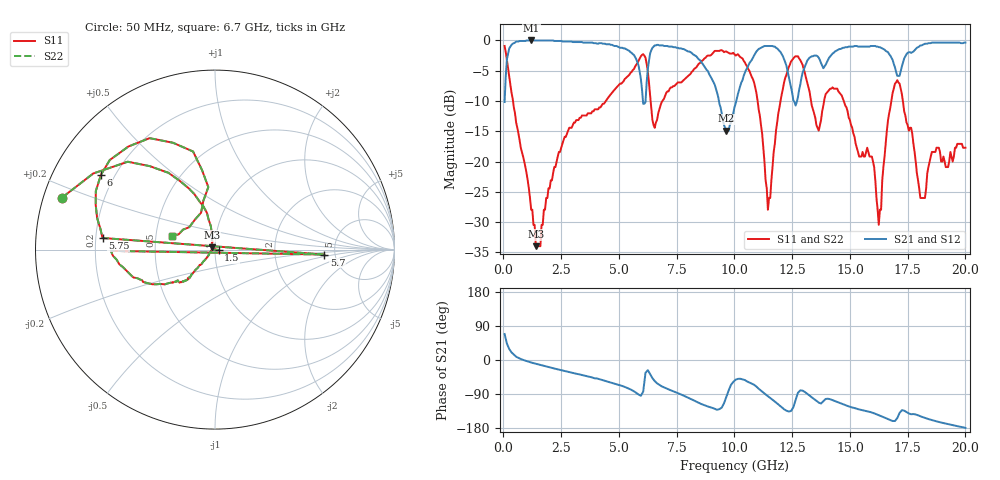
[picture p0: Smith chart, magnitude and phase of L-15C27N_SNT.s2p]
# MHZ S MA R 50
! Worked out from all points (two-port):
!   400 points, 50 MHz to 20 GHz, reference 50 ohm
!   highest |S21| = 0.00 dB at 1.2 GHz (marker M1); lowest = -14.9 dB at 9.65 GHz (marker M2)
!   |S21| within 3 dB of the highest: 155.2 MHz to 5.737 GHz (5.581 GHz wide, 189 % of centre); 14.08 GHz to 16.82 GHz (2.74 GHz wide, 17.7 % of centre)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
!   lowest |S11| = -34.0 dB at 1.4 GHz (marker M3), VSWR 1.04, Z = 48.4 + j1.16 ohm
!   |S11| at or under -10 dB: 413 MHz to 4.431 GHz (4.018 GHz wide, 166 % of centre); 14.73 GHz to 16.8 GHz (2.061 GHz wide, 13.1 % of centre); 17.29 GHz to end of sweep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
!   |S22| runs from -34.0 to -0.9 dB; largest |S21 - S12| = 0
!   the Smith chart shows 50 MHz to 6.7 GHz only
!   S11 on the Smith chart (normalised r, x): 50 MHz: 0.05, +0.17; 1.5 GHz: 1.04, -0.01; 5.7 GHz: 4.09, -0.36; 5.75 GHz: 0.23, +0.05; 6 GHz: 0.15, +0.29; 6.7 GHz: 0.61, +0.10
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50  0.9 161.2  0.31 68.5  0.31 68.5  0.9 161.2
350  0.37 113.1  0.92 20.0  0.92 20.0  0.37 113.1
1200  0.04 111.9  1 -6.6  1 -6.6  0.04 111.9
1400  0.02 143.3  1 -9.9  1 -9.9  0.02 143.3
1500  0.02 -8.8  1 -11.6  1 -11.6  0.02 -8.8
3400  0.24 -133.3  0.97 -39.6  0.97 -39.6  0.24 -133.3
5650  0.58 -179.3  0.76 -82.6  0.76 -82.6  0.58 -179.3
5700  0.61 -2.6  0.73 -84.6  0.73 -84.6  0.61 -2.6
5750  0.63 174.1  0.7 -86.6  0.7 -86.6  0.63 174.1
6000  0.76 146.7  0.39 -88.9  0.39 -88.9  0.76 146.7
6700  0.25 161.7  0.92 -63.5  0.92 -63.5  0.25 161.7
9650  0.81 86.9  0.18 -97.7  0.18 -97.7  0.81 86.9
10050  0.75 67.9  0.3 -52.0  0.3 -52.0  0.75 67.9
10950  0.37 32.5  0.81 -70.0  0.81 -70.0  0.37 32.5
11450  0.04 45.2  0.9 -95.5  0.9 -95.5  0.04 45.2
12450  0.67 69.4  0.41 -134.7  0.41 -134.7  0.67 69.4
13350  0.29 17.6  0.74 -98.6  0.74 -98.6  0.29 17.6
14650  0.35 -22.4  0.86 -115.7  0.86 -115.7  0.35 -22.4
16250  0.03 -21.4  0.88 -145.7  0.88 -145.7  0.03 -21.4
16700  0.25 78.5  0.77 -157.3  0.77 -157.3  0.25 78.5
18050  0.05 26.2  0.91 -148.5  0.91 -148.5  0.05 26.2
20000  0.13 -86.4  0.96 -179.1  0.96 -179.1  0.13 -86.4
